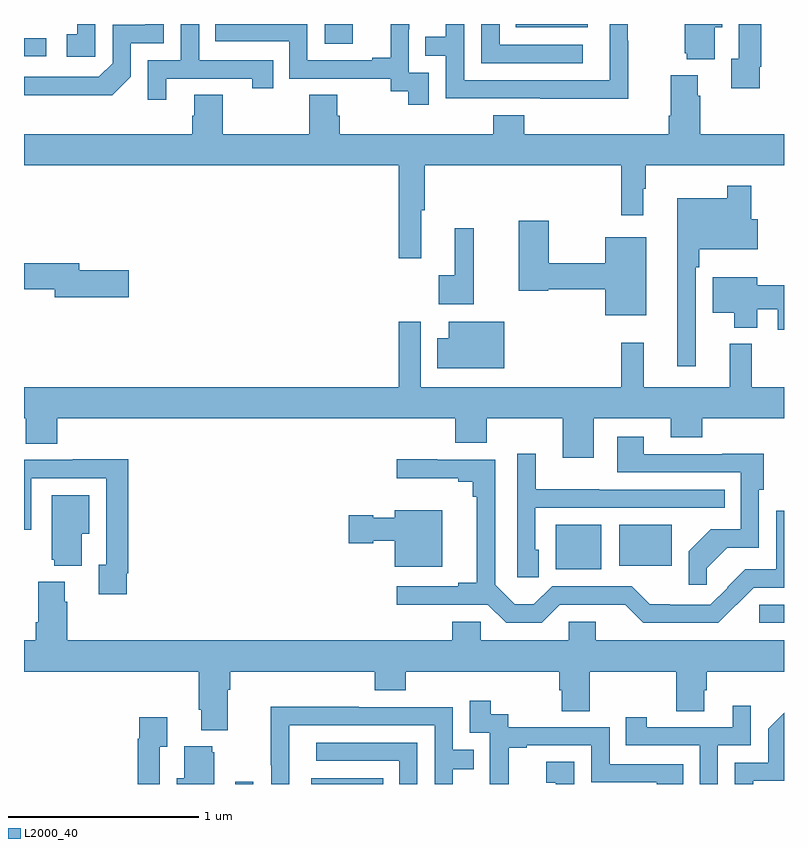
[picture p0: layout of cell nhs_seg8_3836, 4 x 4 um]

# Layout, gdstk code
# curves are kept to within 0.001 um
import gdstk
lib = gdstk.Library(unit=1e-6, precision=1e-09)
def R(c, l, rs):  # rectangles x0, y0, x1, y1
    for r in rs: c.add(gdstk.rectangle(r[:2], r[2:], *l))
def P(c, l, *ps):  # polygons
    for p in ps: c.add(gdstk.Polygon(p, *l))
L2000_40 = (2000, 40)

nhs_seg8_3836 = lib.new_cell('nhs_seg8_3836')
R(nhs_seg8_3836, L2000_40, [(348.111,1123.9,348.207,1123.912), (348.512,1123.9,348.89,1123.93), (350.871,1124.748,351,1124.844), (349.799,1125.029,350.038,1125.265), (350.132,1125.05,350.41,1125.265), (347,1127.73,347.116,1127.826), (348.582,1127.796,348.73,1127.9), (349.588,1127.882,349.966,1127.9)])
P(nhs_seg8_3836, L2000_40, [(350.181,1127.813),(350.178,1127.813),(350.178,1127.9),(350.082,1127.9),(350.082,1127.604),(349.317,1127.604),(349.317,1127.9),(349.221,1127.9),(349.221,1127.834),(349.111,1127.834),(349.111,1127.733),(349.221,1127.733),(349.221,1127.508),(349.717,1127.508),(349.717,1127.507),(350.181,1127.507)],
  [(350.635,1127.882),(350.674,1127.882),(350.674,1127.9),(350.477,1127.9),(350.477,1127.745),(350.489,1127.745),(350.489,1127.714),(350.635,1127.714)],
  [(350.872,1127.674),(350.879,1127.674),(350.879,1127.9),(350.763,1127.9),(350.763,1127.718),(350.723,1127.718),(350.723,1127.562),(350.872,1127.562)],
  [(347.749,1127.613),(348.2,1127.613),(348.2,1127.562),(348.311,1127.562),(348.311,1127.709),(347.922,1127.709),(347.922,1127.9),(347.826,1127.9),(347.826,1127.709),(347.652,1127.709),(347.652,1127.502),(347.749,1127.502)],
  [(349.131,1127.643),(349.026,1127.643),(349.026,1127.873),(349.028,1127.873),(349.028,1127.9),(348.929,1127.9),(348.929,1127.722),(348.833,1127.722),(348.833,1127.709),(348.492,1127.709),(348.492,1127.9),(348.007,1127.9),(348.007,1127.808),(348.396,1127.808),(348.396,1127.613),(348.93,1127.613),(348.93,1127.545),(349.023,1127.545),(349.023,1127.475),(349.131,1127.475)],
  [(349.942,1127.79),(349.503,1127.79),(349.503,1127.9),(349.407,1127.9),(349.407,1127.694),(349.942,1127.694)],
  [(347.562,1127.622),(347.562,1127.799),(347.736,1127.799),(347.736,1127.9),(347.639,1127.9),(347.639,1127.895),(347.466,1127.895),(347.466,1127.694),(347.394,1127.622),(347,1127.622),(347,1127.526),(347.464,1127.525)],
  [(347.376,1127.9),(347.279,1127.9),(347.279,1127.847),(347.226,1127.847),(347.226,1127.727),(347.376,1127.727)],
  [(349.091,1126.92),(349.109,1126.92),(349.109,1127.156),(350.143,1127.156),(350.143,1126.893),(350.26,1126.893),(350.26,1127.033),(350.272,1127.033),(350.272,1127.156),(351,1127.156),(351,1127.32),(350.558,1127.32),(350.558,1127.522),(350.545,1127.522),(350.545,1127.629),(350.405,1127.629),(350.405,1127.416),(350.393,1127.416),(350.393,1127.32),(349.634,1127.32),(349.634,1127.419),(349.469,1127.419),(349.469,1127.32),(348.662,1127.32),(348.662,1127.418),(348.649,1127.418),(348.649,1127.528),(348.502,1127.528),(348.502,1127.32),(348.045,1127.32),(348.045,1127.528),(347.897,1127.528),(347.897,1127.418),(347.885,1127.418),(347.885,1127.32),(347,1127.32),(347,1127.156),(348.973,1127.156),(348.973,1126.668),(349.091,1126.668)],
  [(350.535,1126.619),(350.555,1126.619),(350.555,1126.715),(350.863,1126.715),(350.863,1126.873),(350.828,1126.873),(350.828,1127.05),(350.7,1127.05),(350.7,1126.984),(350.438,1126.984),(350.438,1126.098),(350.535,1126.098)],
  [(350.275,1126.777),(350.06,1126.777),(350.06,1126.64),(349.762,1126.64),(349.762,1126.864),(349.604,1126.864),(349.604,1126.496),(349.758,1126.496),(349.758,1126.504),(350.06,1126.504),(350.06,1126.367),(350.275,1126.367)],
  [(349.368,1126.825),(349.268,1126.825),(349.268,1126.577),(349.182,1126.577),(349.182,1126.424),(349.368,1126.424)],
  [(347.551,1126.604),(347.29,1126.604),(347.29,1126.64),(347,1126.64),(347,1126.504),(347.162,1126.504),(347.162,1126.462),(347.551,1126.462)],
  [(351,1126.526),(350.86,1126.526),(350.86,1126.567),(350.624,1126.567),(350.624,1126.379),(350.738,1126.379),(350.738,1126.301),(350.86,1126.301),(350.86,1126.398),(350.967,1126.398),(350.967,1126.29),(351,1126.29)],
  [(349.999,1125.824),(350.405,1125.824),(350.405,1125.725),(350.569,1125.725),(350.569,1125.824),(351,1125.824),(351,1125.988),(350.831,1125.988),(350.831,1126.216),(350.714,1126.216),(350.714,1125.988),(350.261,1125.988),(350.261,1126.222),(350.143,1126.222),(350.143,1125.988),(349.089,1125.988),(349.089,1126.333),(348.973,1126.333),(348.973,1125.988),(347,1125.988),(347,1125.824),(347.009,1125.824),(347.009,1125.691),(347.174,1125.691),(347.174,1125.824),(349.271,1125.824),(349.271,1125.696),(349.435,1125.696),(349.435,1125.824),(349.835,1125.824),(349.835,1125.618),(349.999,1125.618)],
  [(349.528,1126.333),(349.235,1126.333),(349.235,1126.246),(349.174,1126.246),(349.174,1126.088),(349.528,1126.088)],
  [(350.594,1125.036),(350.702,1125.144),(350.868,1125.144),(350.868,1125.45),(350.893,1125.45),(350.893,1125.638),(350.675,1125.638),(350.675,1125.636),(350.263,1125.636),(350.263,1125.727),(350.123,1125.727),(350.123,1125.54),(350.772,1125.54),(350.772,1125.24),(350.615,1125.24),(350.499,1125.124),(350.499,1124.949),(350.594,1124.949)],
  [(349.708,1125.132),(349.692,1125.132),(349.692,1125.354),(350.687,1125.354),(350.687,1125.45),(350.027,1125.45),(350.027,1125.451),(349.693,1125.451),(349.693,1125.637),(349.596,1125.637),(349.596,1124.989),(349.708,1124.989)],
  [(347.542,1125.01),(347.549,1125.01),(347.549,1125.608),(347.257,1125.608),(347.257,1125.606),(347,1125.606),(347,1125.237),(347.037,1125.237),(347.037,1125.51),(347.433,1125.51),(347.433,1125.054),(347.393,1125.054),(347.393,1124.898),(347.542,1124.898)],
  [(349.821,1124.844),(350.165,1124.843),(350.259,1124.748),(350.653,1124.748),(350.841,1124.934),(351,1124.934),(351,1125.337),(350.958,1125.337),(350.958,1125.03),(350.795,1125.03),(350.701,1124.936),(350.703,1124.934),(350.613,1124.844),(350.398,1124.844),(350.398,1124.846),(350.294,1124.846),(350.199,1124.94),(349.779,1124.94),(349.684,1124.845),(349.583,1124.845),(349.479,1124.949),(349.479,1125.606),(349.175,1125.606),(349.175,1125.608),(348.963,1125.608),(348.963,1125.509),(349.286,1125.509),(349.286,1125.49),(349.363,1125.49),(349.363,1125.413),(349.382,1125.413),(349.382,1124.96),(349.286,1124.96),(349.286,1124.94),(348.963,1124.94),(348.963,1124.843),(349.442,1124.844),(349.538,1124.748),(349.725,1124.748)],
  [(347.305,1125.218),(347.344,1125.218),(347.344,1125.421),(347.147,1125.421),(347.147,1125.081),(347.159,1125.081),(347.159,1125.05),(347.305,1125.05)],
  [(349.201,1125.34),(348.95,1125.34),(348.95,1125.301),(348.837,1125.301),(348.837,1125.314),(348.708,1125.314),(348.708,1125.167),(348.837,1125.167),(348.837,1125.179),(348.95,1125.179),(348.95,1125.044),(349.201,1125.044)],
  [(348.073,1124.396),(348.086,1124.396),(348.086,1124.492),(348.845,1124.492),(348.845,1124.393),(349.01,1124.393),(349.01,1124.492),(349.817,1124.492),(349.817,1124.394),(349.829,1124.394),(349.829,1124.284),(349.977,1124.284),(349.977,1124.492),(350.434,1124.492),(350.434,1124.284),(350.581,1124.284),(350.581,1124.394),(350.594,1124.394),(350.594,1124.492),(351,1124.492),(351,1124.656),(350.008,1124.656),(350.008,1124.754),(349.866,1124.754),(349.866,1124.656),(349.404,1124.656),(349.404,1124.754),(349.253,1124.754),(349.253,1124.656),(347.228,1124.656),(347.228,1124.858),(347.215,1124.858),(347.215,1124.965),(347.075,1124.965),(347.075,1124.752),(347.063,1124.752),(347.063,1124.656),(347,1124.656),(347,1124.492),(347.921,1124.492),(347.921,1124.29),(347.933,1124.29),(347.933,1124.183),(348.073,1124.183)],
  [(349.55,1124.091),(349.645,1124.091),(349.645,1124.103),(349.986,1124.103),(349.986,1123.908),(350.331,1123.908),(350.331,1123.9),(350.471,1123.9),(350.471,1124.004),(350.082,1124.004),(350.082,1124.199),(349.548,1124.199),(349.548,1124.268),(349.456,1124.268),(349.456,1124.338),(349.347,1124.338),(349.347,1124.169),(349.452,1124.169),(349.452,1123.94),(349.451,1123.94),(349.451,1123.9),(349.55,1123.9)],
  [(350.652,1124.103),(350.826,1124.103),(350.826,1124.311),(350.729,1124.311),(350.729,1124.199),(350.278,1124.199),(350.278,1124.251),(350.167,1124.251),(350.167,1124.103),(350.556,1124.103),(350.556,1123.9),(350.652,1123.9)],
  [(348.396,1124.208),(349.161,1124.208),(349.161,1123.9),(349.257,1123.9),(349.257,1123.978),(349.367,1123.978),(349.367,1124.079),(349.257,1124.079),(349.257,1124.304),(348.761,1124.304),(348.761,1124.306),(348.298,1124.306),(348.298,1123.999),(348.3,1123.999),(348.3,1123.9),(348.396,1123.9)],
  [(350.839,1123.917),(351,1123.917),(351,1124.274),(350.916,1124.19),(350.916,1124.013),(350.742,1124.013),(350.742,1123.9),(350.839,1123.9)],
  [(347.715,1124.095),(347.755,1124.095),(347.755,1124.251),(347.607,1124.251),(347.607,1124.138),(347.599,1124.138),(347.599,1123.9),(347.715,1123.9)],
  [(349.071,1124.118),(348.537,1124.118),(348.537,1124.022),(348.975,1124.022),(348.975,1123.9),(349.071,1123.9)],
  [(348.001,1124.067),(347.99,1124.067),(347.99,1124.098),(347.843,1124.098),(347.843,1123.93),(347.804,1123.93),(347.804,1123.9),(348.001,1123.9)],
  [(349.896,1124.017),(349.749,1124.017),(349.749,1123.907),(349.798,1123.907),(349.798,1123.9),(349.896,1123.9)])

lib.write_gds('nhs_seg8_3836.gds')
